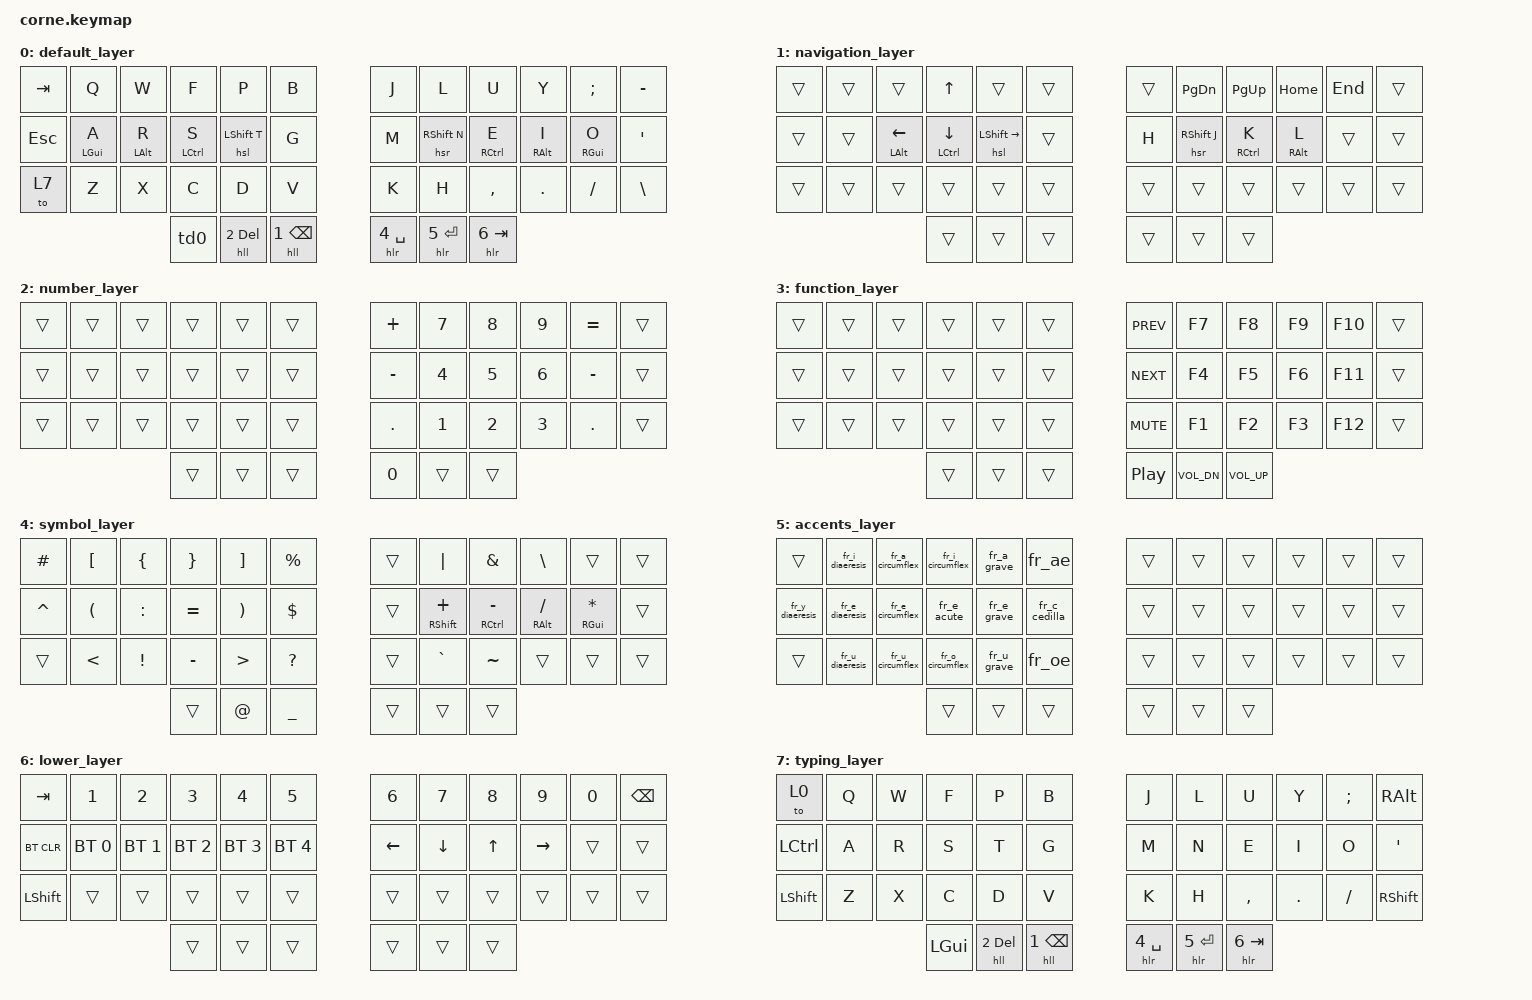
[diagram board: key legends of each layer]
/*
 * Copyright (c) 2020 The ZMK Contributors
 *
 * SPDX-License-Identifier: MIT
 */

#include <behaviors.dtsi>
#include <dt-bindings/zmk/keys.h>
#include <dt-bindings/zmk/bt.h>
#include "keypos_def/corne.dtsi"
#include "layout/homerowmods.dtsi"
#include "layout/homerowmods.corne.dtsi"

#define HOST_OS 2
#include "zmk-helpers/helper.h"
#include "zmk-helpers/unicode-chars/french.dtsi"

/ {
        behaviors {
                td0: tap_dance_0 {
                        compatible = "zmk,behavior-tap-dance";
                        #binding-cells = <0>;
                        tapping-term-ms = <200>;
                        bindings = <&mo 3>, <&caps_word>;
                };
        };

        keymap {
                compatible = "zmk,keymap";

                default_layer {
// -----------------------------------------------------------------------------------------
// | TAB |  Q  |  W  |  F   |  P  |  B   |   |  J  |  L  |  U   |  Y  |  ;  |  -  |
// | ESC |  A  |  R  |  S   |  T  |  G   |   |  M  |  N  |  E   |  I  |  O  |  '  |
// | TYP |  Z  |  X  |  C   |  D  |  V   |   |  K  |  H  |  ,   |  .  |  /  |  \  |
//                    | CAPW | DEL | BSPC |   | SPC | RET | TAB  |
                        bindings = <
   &kp TAB   &kp Q       &kp W       &kp F        &kp P        &kp B          &kp J       &kp L        &kp U        &kp Y       &kp SEMI    &kp MINUS
   &kp ESC   &hml LGUI A &hml LALT R &hml LCTRL S &hsl LSHFT T &kp G          &kp M       &hsr RSHFT N &hmr RCTRL E &hmr RALT I &hmr RGUI O &kp SQT
   &to 7     &kp Z       &kp X       &kp C        &kp D        &kp V          &kp K       &kp H        &kp COMMA    &kp DOT     &kp FSLH    &kp BSLH
                                         &td0 &hll 2 DEL &hll 1 BSPC          &hlr 4 SPACE &hlr 5 RET &hlr 6 TAB
                        >;
                };
                navigation_layer {
                        bindings = <
// -----------------------------------------------------------------------------------------
// |     |     |      |  UP  |      |     |   |     | PGU | PGD | HOM | END |    |
// |     |     | LEFT | DOWN | RGHT |     |   |  H  |  J  |  K  |  L  |     |    |
// |     |     |      |      |      |     |   |     |     |     |     |     |    |
//                    |      |      |     |   |     |     |     |
   &trans &trans &trans         &kp UP          &trans           &trans     &trans &kp PG_DN    &kp PG_UP    &kp HOME    &kp END &trans
   &trans &trans &hml LALT LEFT &hml LCTRL DOWN &hsl LSHFT RIGHT &trans     &kp H  &hsr RSHFT J &hmr RCTRL K &hmr RALT L &trans  &trans
   &trans &trans &trans         &trans          &trans           &trans     &trans &trans       &trans       &trans      &trans  &trans
                                &trans          &trans           &trans     &trans &trans       &trans
                        >;
                };
                number_layer {
                        bindings = <
// -----------------------------------------------------------------------------------------
// |     |     |     |     |     |     |   |  +  |  7  |  8  |  9  |  =  |    |
// |     |     |     |     |     |     |   |  -  |  4  |  5  |  6  |  -  |    |
// |     |     |     |     |     |     |   |  .  |  1  |  2  |  3  |  .  |    |
//                   |     |     |     |   |  0  |     |     |
   &trans &trans &trans &trans &trans &trans     &kp PLUS  &kp N7 &kp N8 &kp N9 &kp EQUAL &trans
   &trans &trans &trans &trans &trans &trans     &kp MINUS &kp N4 &kp N5 &kp N6 &kp MINUS &trans
   &trans &trans &trans &trans &trans &trans     &kp DOT   &kp N1 &kp N2 &kp N3 &kp DOT   &trans
                        &trans &trans &trans     &kp N0    &trans &trans
                        >;
                };
                function_layer {
                        bindings = <
// -----------------------------------------------------------------------------------------
// |     |     |     |     |     |     |   | PREV |  F7  |  F8  | F9 | F10 |    |
// |     |     |     |     |     |     |   | NEXT |  F4  |  F5  | F6 | F11 |    |
// |     |     |     |     |     |     |   | MUTE |  F1  |  F2  | F3 | F12 |    |
//                   |     |     |     |   | >/|| | V_DN | V_UP |
   &trans &trans &trans &trans &trans &trans     &kp C_PREV       &kp F7       &kp F8       &kp F9 &kp F10 &trans
   &trans &trans &trans &trans &trans &trans     &kp C_NEXT       &kp F4       &kp F5       &kp F6 &kp F11 &trans
   &trans &trans &trans &trans &trans &trans     &kp C_MUTE       &kp F1       &kp F2       &kp F3 &kp F12 &trans
                        &trans &trans &trans     &kp C_PLAY_PAUSE &kp C_VOL_DN &kp C_VOL_UP
                        >;
                };
                symbol_layer {
                        bindings = <
// -----------------------------------------------------------------------------------------
// |  #  |  [  |  {  |  }  |  ]  |  %  |   |     |  |  |  &  |  \  |     |     |
// |  ^  |  (  |  :  |  =  |  )  |  $  |   |     |  +  |  -  |  /  |  *  |     |
// |     |  <  |  !  |  -  |  >  |  ?  |   |     |  `  |  ~  |     |     |     |
//                   |     |  @  |  _  |   |     |     |     |     |
   &kp HASH  &kp LBKT &kp LBRC  &kp RBRC  &kp RBKT &kp PRCNT      &trans &kp PIPE        &kp AMPS         &kp BSLH       &trans         &trans
   &kp CARET &kp LPAR &kp COLON &kp EQUAL &kp RPAR &kp DLLR       &trans &hmr RSHFT PLUS &hmr RCTRL MINUS &hmr RALT FSLH &hmr RGUI STAR &trans
   &trans    &kp LT   &kp EXCL  &kp MINUS &kp GT   &kp QMARK      &trans &kp GRAVE       &kp TILDE        &trans         &trans         &trans
                                     &trans &kp AT &kp UNDER      &trans &trans &trans
                        >;
                };
                accents_layer {
                        bindings = <
// -----------------------------------------------------------------------------------------
// |     |  ï  |  â  |  î  |  à  |  æ  |   |     |     |     |     |     |     |
// |  ÿ  |  ë  |  ê  |  é  |  è  |  ç  |   |     |     |     |     |     |     |
// |     |  ü  |  û  |  ô  |  ù  |  œ  |   |     |     |     |     |     |     |
//                   |     |     |     |   |     |     |     |
   &trans          &fr_i_diaeresis &fr_a_circumflex &fr_i_circumflex &fr_a_grave &fr_ae              &trans &trans &trans &trans &trans &trans
   &fr_y_diaeresis &fr_e_diaeresis &fr_e_circumflex &fr_e_acute      &fr_e_grave &fr_c_cedilla       &trans &trans &trans &trans &trans &trans
   &trans          &fr_u_diaeresis &fr_u_circumflex &fr_o_circumflex &fr_u_grave &fr_oe              &trans &trans &trans &trans &trans &trans
                                                                          &trans &trans &trans       &trans &trans &trans
                        >;
                };
                lower_layer {
// -----------------------------------------------------------------------------------------
// |  TAB |  1  |  2  |  3  |  4  |  5  |   |  6  |  7  |  8  |  9  |  0  | BSPC |
// | BTCLR| BT1 | BT2 | BT3 | BT4 | BT5 |   | LFT | DWN |  UP | RGT |     |      |
// | SHFT |     |     |     |     |     |   |     |     |     |     |     |      |
//                    |     |     |     |   |     |     |     |
                        bindings = <
   &kp TAB    &kp N1       &kp N2       &kp N3       &kp N4       &kp N5         &kp N6   &kp N7   &kp N8 &kp N9    &kp N0 &kp BSPC
   &bt BT_CLR &bt BT_SEL 0 &bt BT_SEL 1 &bt BT_SEL 2 &bt BT_SEL 3 &bt BT_SEL 4   &kp LEFT &kp DOWN &kp UP &kp RIGHT &trans &trans
   &kp LSHFT  &trans       &trans       &trans       &trans       &trans         &trans   &trans   &trans &trans    &trans &trans
                                        &trans       &trans       &trans         &trans   &trans   &trans
                        >;
                };
                typing_layer {
// -----------------------------------------------------------------------------------------
// | DEF  |  Q  |  W  |  F   |  P  |  B   |   |  J  |  L  |  U   |  Y  |  ;  | ALT |
// | CTRL |  A  |  R  |  S   |  T  |  G   |   |  M  |  N  |  E   |  I  |  O  |  '  |
// | SHFT |  Z  |  X  |  C   |  D  |  V   |   |  K  |  H  |  ,   |  .  |  /  | SHF |
//                    | GUI | DEL | BSPC |   | SPC | RET | TAB  |
                        bindings = <
   &to 0     &kp Q &kp W &kp F &kp P &kp B          &kp J &kp L &kp U     &kp Y   &kp SEMI &kp RALT
   &kp LCTRL &kp A &kp R &kp S &kp T &kp G          &kp M &kp N &kp E     &kp I   &kp O    &kp SQT
   &kp LSHFT &kp Z &kp X &kp C &kp D &kp V          &kp K &kp H &kp COMMA &kp DOT &kp FSLH &kp RSHFT
           &kp LGUI &hll 2 DEL &hll 1 BSPC          &hlr 4 SPACE &hlr 5 RET &hlr 6 TAB
                        >;
                };
        };
};


